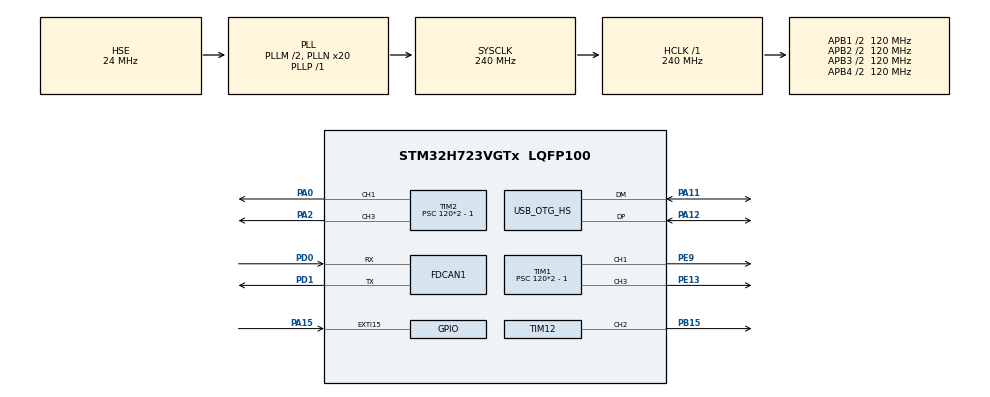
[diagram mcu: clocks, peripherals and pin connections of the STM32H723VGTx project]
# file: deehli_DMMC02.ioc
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CORTEX_M7.default_mode_Activation=1
FDCAN1.AutoRetransmission=ENABLE
FDCAN1.CalculateBaudRateNominal=500000
FDCAN1.CalculateTimeBitNominal=2000
FDCAN1.CalculateTimeQuantumNominal=25.0
FDCAN1.DataPrescaler=5
FDCAN1.DataSyncJumpWidth=15
FDCAN1.DataTimeSeg1=16
FDCAN1.DataTimeSeg2=16
FDCAN1.NominalPrescaler=2
FDCAN1.NominalSyncJumpWidth=10
FDCAN1.NominalTimeSeg1=69
FDCAN1.NominalTimeSeg2=10
FDCAN1.RxBuffersNbr=1
FDCAN1.RxFifo0ElmtsNbr=1
FDCAN1.StdFiltersNbr=1
FDCAN1.TxBuffersNbr=31
FDCAN1.TxEventsNbr=1
FDCAN1.TxFifoQueueElmtsNbr=1
Mcu.Family=STM32H7
Mcu.Name=STM32H723VGTx
Mcu.Package=LQFP100
NVIC.FDCAN1_IT0_IRQn=true\:0\:0\:false\:false\:true\:true\:true\:true
NVIC.OTG_HS_IRQn=true\:0\:0\:false\:false\:true\:false\:true\:true
NVIC.PriorityGroup=NVIC_PRIORITYGROUP_4
PA0.Signal=S_TIM2_CH1_ETR
PA11.Mode=Device_Only_FS
PA11.Signal=USB_OTG_HS_DM
PA12.Mode=Device_Only_FS
PA12.Signal=USB_OTG_HS_DP
PA13(JTMS/SWDIO).Mode=Serial_Wire
PA13(JTMS/SWDIO).Signal=DEBUG_JTMS-SWDIO
PA14(JTCK/SWCLK).Mode=Serial_Wire
PA14(JTCK/SWCLK).Signal=DEBUG_JTCK-SWCLK
PA15(JTDI).Signal=GPXTI15
PA2.Signal=S_TIM2_CH3
PB15.Signal=S_TIM12_CH2
PD0.Mode=FDCAN_Activate
PD0.Signal=FDCAN1_RX
PD1.Mode=FDCAN_Activate
PD1.Signal=FDCAN1_TX
PE13.Signal=S_TIM1_CH3
PE9.Signal=S_TIM1_CH1
PH0-OSC_IN.Mode=HSE-External-Oscillator
PH0-OSC_IN.Signal=RCC_OSC_IN
PH1-OSC_OUT.Mode=HSE-External-Oscillator
PH1-OSC_OUT.Signal=RCC_OSC_OUT
ProjectManager.HeapSize=0x200
ProjectManager.StackSize=0x400
ProjectManager.TargetToolchain=STM32CubeIDE
RCC.ADCFreq_Value=48375000
RCC.APB1Freq_Value=120000000
RCC.APB2Freq_Value=120000000
RCC.APB3Freq_Value=120000000
RCC.APB4Freq_Value=120000000
RCC.CortexFreq_Value=240000000
RCC.D1PPRE=RCC_APB3_DIV2
RCC.D2PPRE1=RCC_APB1_DIV2
RCC.D2PPRE2=RCC_APB2_DIV2
RCC.D3PPRE=RCC_APB4_DIV2
RCC.DIVM1=2
RCC.DIVN1=20
RCC.DIVP1=1
RCC.DIVQ1=3
RCC.HCLKFreq_Value=240000000
RCC.HSE_VALUE=24000000
RCC.PLLFRACN=0
RCC.PLLSourceVirtual=RCC_PLLSOURCE_HSE
RCC.SYSCLKFreq_VALUE=240000000
RCC.SYSCLKSource=RCC_SYSCLKSOURCE_PLLCLK
RCC.USBCLockSelection=RCC_USBCLKSOURCE_HSI48
RCC.USBFreq_Value=48000000
SH.S_TIM12_CH2.0=TIM12_CH2,PWM Generation2 CH2
SH.S_TIM1_CH1.0=TIM1_CH1,PWM Generation1 CH1
SH.S_TIM1_CH3.0=TIM1_CH3,PWM Generation3 CH3
SH.S_TIM2_CH1_ETR.0=TIM2_CH1,PWM Generation1 CH1
SH.S_TIM2_CH3.0=TIM2_CH3,PWM Generation3 CH3
TIM1.Channel-PWM\ Generation1\ CH1=TIM_CHANNEL_1
TIM1.Channel-PWM\ Generation3\ CH3=TIM_CHANNEL_3
TIM1.Period=10000 - 1
TIM1.Prescaler=120*2 - 1
TIM12.Channel-PWM\ Generation2\ CH2=TIM_CHANNEL_2
TIM2.Channel-PWM\ Generation1\ CH1=TIM_CHANNEL_1
TIM2.Channel-PWM\ Generation3\ CH3=TIM_CHANNEL_3
TIM2.Period=10000 - 1
TIM2.Prescaler=120*2 - 1
USB_DEVICE.CLASS_NAME_HS=CDC
USB_DEVICE.USBD_SELF_POWERED=1
USB_DEVICE.VirtualMode=Cdc
USB_DEVICE.VirtualModeHS=Cdc_HS
USB_OTG_HS.VirtualMode-Device_Only_FS=Device_Only_FS
VP_MEMORYMAP_VS_MEMORYMAP.Mode=CurAppReg
VP_TIM12_VS_ClockSourceINT.Mode=Internal
VP_TIM1_VS_ClockSourceINT.Mode=Internal
VP_TIM2_VS_ClockSourceINT.Mode=Internal
VP_USB_DEVICE_VS_USB_DEVICE_CDC_HS.Mode=CDC_HS
board=custom

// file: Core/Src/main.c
/* USER CODE BEGIN Header */
/**
  ******************************************************************************
  * @file           : main.c
  * @brief          : Main program body
  ******************************************************************************
  * @attention
  *
  * Copyright (c) 2025 STMicroelectronics.
  * All rights reserved.
  *
  * This software is licensed under terms that can be found in the LICENSE file
  * in the root directory of this software component.
  * If no LICENSE file comes with this software, it is provided AS-IS.
  *
  ******************************************************************************
  */
/* USER CODE END Header */
#include "main.h"
#include "fdcan.h"
#include "tim.h"
#include "usb_device.h"
#include "gpio.h"

/* USER CODE BEGIN Includes */
#include <stdlib.h>

#include "driver_servo_pwm.h"
#include "driver_user_button.h"
#include "driver_usb.h"
#include "driver_buzzer.h"

#include "driver_ZDTEmmV50.h"

#include "lib_deehli.h"
/* USER CODE END Includes */

void SystemClock_Config(void);
static void MPU_Config(void);
/* USER CODE BEGIN PFP */
uint8_t has_new_msg = 0;
uint8_t* serial_buffer_copy;
int USB_user_callback(uint8_t* Buf, uint32_t len)
{
  printf("[fw][usb] received %lu bytes: %.*s\r\n", (unsigned long)len, (int)len, Buf);
  has_new_msg = 1;
  serial_buffer_copy = Buf;
    return 0;
}
/* USER CODE END PFP */

/* USER CODE BEGIN 0 */
void command_success(bool is_active) /*Sound to play on success*/
{
  if (!is_active) {return;}
  buzzer_enable(); buzzer_set_midi(90); HAL_Delay(200); buzzer_disable();
  HAL_Delay(200);
  buzzer_enable(); buzzer_set_midi(90); HAL_Delay(200); buzzer_disable();
}
void command_error() /*Sound to play on error*/
{
	  buzzer_enable(); buzzer_set_midi(90); HAL_Delay(100); buzzer_disable();
	  HAL_Delay(100);
	  buzzer_enable(); buzzer_set_midi(90); HAL_Delay(100); buzzer_disable();
	  HAL_Delay(100);
	  buzzer_enable(); buzzer_set_midi(90); HAL_Delay(100); buzzer_disable();
	  HAL_Delay(100);
	  buzzer_enable(); buzzer_set_midi(90); HAL_Delay(100); buzzer_disable();
}
void command_timeout() /*Sound to play on timeout*/
{
	  buzzer_enable(); buzzer_set_midi(90); HAL_Delay(50); buzzer_disable();
	  HAL_Delay(50);
	  buzzer_enable(); buzzer_set_midi(90); HAL_Delay(50); buzzer_disable();
	  HAL_Delay(50);
	  buzzer_enable(); buzzer_set_midi(90); HAL_Delay(50); buzzer_disable();
	  HAL_Delay(50);
	  buzzer_enable(); buzzer_set_midi(90); HAL_Delay(50); buzzer_disable();
	  HAL_Delay(50);
	  buzzer_enable(); buzzer_set_midi(90); HAL_Delay(50); buzzer_disable();
}

/* command errors serial notify */
void notify_setup_success() /*Serial data to send on setup success*/
{
	char buf_dbg[] = "[fw][usb] setup success\r\n";
	USB_transmit((uint8_t*) buf_dbg, strlen(buf_dbg));
	char buf[4] = "255\n";
	USB_transmit((uint8_t*) buf, 4);
}
void notify_cmd_ack() /*Serial data to send on valid command*/
{
	char buf_dbg[] = "[fw][usb] cmd ack\r\n";
	USB_transmit((uint8_t*) buf_dbg, strlen(buf_dbg));
	char buf[4] = "250\n";
	USB_transmit((uint8_t*) buf, 4);
}
void notify_command_success() /*Serial data to send on success*/
{
	char buf_dbg[] = "[fw][usb] cmd success\r\n";
	USB_transmit((uint8_t*) buf_dbg, strlen(buf_dbg));
	char buf[4] = "249\n";
	USB_transmit((uint8_t*) buf, 4);
}
void notify_command_error(uint8_t error_code) /*Serial data to send on error*/
{
	char buf_dbg[32];
	snprintf(buf_dbg, sizeof(buf_dbg), "[fw][usb] cmd error %u\r\n", error_code);
	USB_transmit((uint8_t*) buf_dbg, strlen(buf_dbg));
	char buf[10];
	snprintf(buf, sizeof(buf), "248,%u\n", error_code);
	USB_transmit((uint8_t*) buf, strlen(buf));
}
void notify_command_timeout() /*Serial data to send on timeout*/
{
	notify_command_error(10);
}
void notify_setup_error() /*Setup went wrong for example*/
{
	char buf[4] = "254\n";
	USB_transmit((uint8_t*) buf, 4);
	buzzer_enable(); buzzer_set_midi(90); HAL_Delay(50); buzzer_disable();
	HAL_Delay(50);
	buzzer_enable(); buzzer_set_midi(90); HAL_Delay(50); buzzer_disable();
	HAL_Delay(50);
}
/* USER CODE END 0 */

int main(void)
{

  /* MPU Configuration--------------------------------------------------------*/
  MPU_Config();

  /* MCU Configuration--------------------------------------------------------*/

  /* Reset of all peripherals, Initializes the Flash interface and the Systick. */
  HAL_Init();

  /* Configure the system clock */
  SystemClock_Config();

  /* Initialize all configured peripherals */
  MX_GPIO_Init();
  MX_TIM1_Init();
  MX_TIM2_Init();
  MX_USB_DEVICE_Init();
  MX_FDCAN1_Init();
  MX_TIM12_Init();
  /* USER CODE BEGIN 2 */
  /* =========== ZDT AND CAN SETUP =========== */
  FDCAN_FilterTypeDef sFilterConfig;

  sFilterConfig.IdType = FDCAN_EXTENDED_ID;
  sFilterConfig.FilterIndex = 0;
  sFilterConfig.FilterType = FDCAN_FILTER_MASK;
  sFilterConfig.FilterConfig = FDCAN_FILTER_TO_RXFIFO0;
  sFilterConfig.FilterID1 = 0x0000;  // Set to 0 to accept all IDs
  sFilterConfig.FilterID2 = 0x0000;  // Set to 0 to accept all IDs
  sFilterConfig.RxBufferIndex = 0;
  if (CAN_add_filter(&hfdcan1, &sFilterConfig) != HAL_OK)
  {
    Error_Handler(); /* Filter configuration Error */
  }

  ZDT_Handler zdt;
  ZDT_ReturnCode retz;
  zdt.hfdcan = &hfdcan1;
  zdt.mot_id = 0x01U;
  zdt.checksum = ZDT_CS0x6B;
  zdt.receive_timeout = 1000;
  zdt.send_timeout = 3000;
  /* Init ZDT handler instance and CAN */
  if(ZDT_CAN_setup(&zdt)!= ZDT_OK)
  {
    Error_Handler();
  }

  /* =========== SERVO SETUP =========== */
  servo_PWM servo1;
  servo1.htim = &htim1;
  servo1.channel = TIM_CHANNEL_3;
  servo1.min_angle = -150; servo1.max_angle = 150;
  servo1.min_duty = 0.025; servo1.max_duty = 0.125;
  servo_PWM_start(&servo1);

  servo_PWM servo2;
  servo2.htim = &htim1;
  servo2.channel = TIM_CHANNEL_1;
  servo2.min_angle = -150; servo2.max_angle = 150;
  servo2.min_duty = 0.025; servo2.max_duty = 0.125;
  servo_PWM_start(&servo2);

  servo_PWM servo3;
  servo3.htim = &htim2;
  servo3.channel = TIM_CHANNEL_3;
  servo3.min_angle = -150; servo3.max_angle = 150;
  servo3.min_duty = 0.025; servo3.max_duty = 0.125;
  servo_PWM_start(&servo3);

  servo_PWM servo4;
  servo4.htim = &htim2;
  servo4.channel = TIM_CHANNEL_1;
  servo4.min_angle = -150; servo4.max_angle = 150;
  servo4.min_duty = 0.025; servo4.max_duty = 0.125;
  servo_PWM_start(&servo4);

  servo_PWM* servos[4] = {&servo1, &servo2, &servo3, &servo4};
  int n_servos = 4;

  /* =========== INIT POSITIONS AND MISC =========== */
  bool CMD_SOUND_ACK = false; // Set to false to disable sound ack for end of command
  float servo_offsets[] = {-5.0f, 1.0f, -2.0f, -6.0f}; // Servo and hardware angle offsets from default position

  servo_PWM_set_angle(&servo1, 0 + servo_offsets[0]);
  servo_PWM_set_angle(&servo2, 0 + servo_offsets[1]);
  servo_PWM_set_angle(&servo3, 0 + servo_offsets[2]);
  servo_PWM_set_angle(&servo4, 0 + servo_offsets[3]);

  if (ZDT_cmd_motor_enable_control(&zdt, true, false))
  {
	  notify_setup_error();
	  Error_Handler();
  }

  /* =========== AUTO HOMING ON STARTUP =========== */
  printf("[fw] startup homing\r\n");
  retz = ZDT_cmd_trigger_homing(&zdt, ZDT_HomNear, false);
  if (retz == ZDT_TIMEOUT)
  {
	  notify_setup_error();
	  Error_Handler();
  }
  else if (retz)
  {
	  notify_setup_error();
	  Error_Handler();
  }

  retz = ZDT_receive_reached_message(&zdt, 15000);
  if (retz == ZDT_TIMEOUT)
  {
	  notify_setup_error();
	  Error_Handler();
  }
  else if (retz)
  {
	  notify_setup_error();
	  Error_Handler();
  }

  retz = ZDT_cmd_set_0_position_homing(&zdt, false);
  if (retz == ZDT_TIMEOUT)
  {
	  notify_setup_error();
	  Error_Handler();
  }
  else if (retz)
  {
	  notify_setup_error();
	  Error_Handler();
  }

  double dout = 0.0;
  int ret;
  int msg_type;
  char **out_strings;
  int str_count;

  /* Play sucess buzzer sound and notify through serial */
  printf("[fw] setup complete\r\n");
  command_success(true); notify_setup_success();

  /* USER CODE END 2 */

  /* Infinite loop */
  /* USER CODE BEGIN WHILE */
  while (1)
  {
  if (has_new_msg == 1) { // New message received
    has_new_msg = 0;
    printf("[fw] parsing USB message\r\n");
    ret = split_string((char *)serial_buffer, &out_strings, &str_count, ",");
    if (ret) {continue;}

    ret = chars_to_double(out_strings[0], &dout); /*Retrieve message type*/
    if (ret) {continue;}
    msg_type = (int)dout;
    printf("[fw] msg_type=%d str_count=%d\r\n", msg_type, str_count);

    if (msg_type == 1) { // servo set
      printf("[fw] servo set\r\n");
      if (str_count != 3) {command_error(); notify_command_error(1); continue;} // Arg count error

      ret = chars_to_double(out_strings[1], &dout);
      if (ret) {command_error(); notify_command_error(1); continue;}
      int servo_id = ((int)dout) -1;
      if (servo_id < 0 || servo_id >= n_servos) {
    	  command_error(); notify_command_error(1); continue;
      }

      ret = chars_to_double(out_strings[2], &dout);
      if (ret) {command_error(); notify_command_error(1); continue;}
      float target_angle = (float)dout + servo_offsets[servo_id];

      notify_cmd_ack(); /* Args are ok */

      ret = servo_PWM_set_angle(servos[servo_id], target_angle);
      if (ret) {command_error(); notify_command_error(1); continue;}
      command_success(CMD_SOUND_ACK); notify_command_success();
    } else if (msg_type == 2) { // servo goto
      printf("[fw] servo goto\r\n");
      if (str_count != 4) {command_error(); notify_command_error(1); continue;} // Arg count error

      ret = chars_to_double(out_strings[1], &dout);
      if (ret) {command_error(); notify_command_error(1); continue;}
      int servo_id = ((int)dout) -1;
      if (servo_id < 0 || servo_id >= n_servos) {
    	  command_error(); notify_command_error(1); continue;
      }

      ret = chars_to_double(out_strings[2], &dout);
      if (ret) {command_error(); notify_command_error(1); continue;}
      float target_angle = (float)dout + servo_offsets[servo_id];

      ret = chars_to_double(out_strings[3], &dout);
      if (ret) {command_error(); notify_command_error(1); continue;}
      float max_angle_speed = (float)dout;

      notify_cmd_ack(); /* Args are ok */

      ret = servo_PWM_goto_angle(servos[servo_id], target_angle, max_angle_speed);
      if (ret) {command_error(); notify_command_error(1); continue;}
      command_success(CMD_SOUND_ACK); notify_command_success();
    } else if (msg_type == 3) { // servo group goto 1by1
      printf("[fw] servo group goto 1by1\r\n");
      if (str_count%3 != 1) {command_error(); notify_command_error(1); continue;} // Arg count error
      int servo_count = (str_count - 1) / 3;
      if (servo_count <= 0 || servo_count > n_servos) {command_error(); notify_command_error(1); continue;}

      servo_PWM **servos_payload;
      float *angles_deg, *max_speeds_degps;
      servos_payload = (servo_PWM **) malloc(servo_count * sizeof(servo_PWM *));
      angles_deg = (float *) malloc(servo_count * sizeof(float));
      max_speeds_degps = (float *) malloc(servo_count * sizeof(float));
      if (servos_payload == NULL || angles_deg == NULL || max_speeds_degps == NULL) {command_error(); notify_command_error(1); continue;}

      for (int i=0; i<servo_count; i++) {
        ret = chars_to_double(out_strings[3*i + 1], &dout);
        if (ret) {command_error(); notify_command_error(1); continue;}
        int this_servo_id = ((int)dout)-1;
        if (this_servo_id < 0 || this_servo_id*sizeof(servo_PWM*) > sizeof(servos)) {command_error(); notify_command_error(1); continue;}

        ret = chars_to_double(out_strings[3*i + 2], &dout);
        if (ret) {command_error(); notify_command_error(1); continue;}
        float target_angle = (float)dout + servo_offsets[this_servo_id];

        ret = chars_to_double(out_strings[3*i + 3], &dout);
        if (ret) {command_error(); notify_command_error(1); continue;}
        float max_angle_speed = (float)dout;

        servos_payload[i] = servos[this_servo_id];
        angles_deg[i] = target_angle;
        max_speeds_degps[i] = max_angle_speed;
      }
      notify_cmd_ack(); /* Args are ok. */

      for (int i=0; i<servo_count; i++) {
        ret = servo_PWM_goto_angle(servos_payload[i], angles_deg[i], max_speeds_degps[i]);
        if (ret) {command_error(); notify_command_error(1); continue;}
      }

      command_success(CMD_SOUND_ACK); notify_command_success();
    } else if (msg_type == 4) { // servo group goto sync
      printf("[fw] servo group goto sync\r\n");
      if (str_count%3 != 1) {command_error(); notify_command_error(1); continue;} // Arg count error
      int servo_count = (str_count - 1) / 3;
      if (servo_count <= 0 || servo_count > n_servos) {command_error(); notify_command_error(1); continue;}

      servo_PWM **servos_payload;
      float *angles_deg, *max_speeds_degps;
      servos_payload = (servo_PWM **) malloc(servo_count * sizeof(servo_PWM *));
      angles_deg = (float *) malloc(servo_count * sizeof(float));
      max_speeds_degps = (float *) malloc(servo_count * sizeof(float));
      if (servos_payload == NULL || angles_deg == NULL || max_speeds_degps == NULL) {command_error(); notify_command_error(1); continue;}

      for (int i=0; i<servo_count; i++) {
        ret = chars_to_double(out_strings[3*i + 1], &dout);
        if (ret) {command_error(); notify_command_error(1); continue;}
        int this_servo_id = ((int)dout)-1;
        if (this_servo_id < 0 || this_servo_id*sizeof(servo_PWM*) > sizeof(servos)) {command_error(); notify_command_error(1); continue;}

        ret = chars_to_double(out_strings[3*i + 2], &dout);
        if (ret) {command_error(); notify_command_error(1); continue;}
        float target_angle = (float)dout + servo_offsets[this_servo_id];

        ret = chars_to_double(out_strings[3*i + 3], &dout);
        if (ret) {command_error(); notify_command_error(1); continue;}
        float max_angle_speed = (float)dout;

        servos_payload[i] = servos[this_servo_id];
        angles_deg[i] = target_angle;
        max_speeds_degps[i] = max_angle_speed;
      }

      notify_cmd_ack(); /* Args are ok. */

      ret = servo_PWM_group_goto_angle(servos_payload, angles_deg, max_speeds_degps, servo_count);
      if (ret) {command_error(); notify_command_error(1); continue;}
      command_success(CMD_SOUND_ACK); notify_command_success();
    } else if (msg_type == 10) { // ZDT enable control
      printf("[fw] ZDT enable control\r\n");

      notify_cmd_ack(); /* Args are ok. */

      retz = ZDT_cmd_motor_enable_control(&zdt, true, false);
      if (retz==ZDT_TIMEOUT) {command_error(); notify_command_error(10); continue;} // if timeout
      else if (retz) {command_error(); notify_command_error(1); continue;}
      command_success(CMD_SOUND_ACK); notify_command_success();
    } else if (msg_type == 11) { // ZDT pos control
        printf("[fw] ZDT position control\r\n");
        if (str_count != 6) {command_error(); notify_command_error(1); continue;} // Arg count error

        ret = chars_to_double(out_strings[1], &dout);
        if (ret) {command_error(); notify_command_error(1); continue;}
        ZDT_Dir dir; if ((int)dout) {dir=ZDT_CW;} else {dir=ZDT_CCW;}

        ret = chars_to_double(out_strings[2], &dout);
        if (ret) {command_error(); notify_command_error(1); continue;}
        uint32_t npulses = (uint32_t)dout;

        ret = chars_to_double(out_strings[3], &dout);
        if (ret) {command_error(); notify_command_error(1); continue;}
        uint16_t speed = (uint16_t)dout;

        ret = chars_to_double(out_strings[4], &dout);
        if (ret) {command_error(); notify_command_error(1); continue;}
        uint8_t accell = (uint8_t)dout;

        ret = chars_to_double(out_strings[5], &dout);
        if (ret) {command_error(); notify_command_error(1); continue;}
        bool isrelative; if ((int)dout) {isrelative=true;} else {isrelative=false;}

        notify_cmd_ack(); /* Args are ok. */

        retz = ZDT_cmd_position_mode_control(&zdt, dir, npulses, speed, accell, isrelative, false);
        if (retz==ZDT_TIMEOUT) {command_error(); notify_command_error(10); continue;} // if timeout
        else if (retz) {command_error(); notify_command_error(1); continue;}
        command_success(CMD_SOUND_ACK); notify_command_success();
    } else if (msg_type == 18) { // ZDT trigger homing
      printf("[fw] ZDT trigger homing\r\n");
      if (str_count != 1) {command_error(); notify_command_error(1); continue;}

      notify_cmd_ack();
      retz = ZDT_cmd_trigger_homing(&zdt, ZDT_HomNear, false);
      if (retz==ZDT_TIMEOUT) {command_error(); notify_command_error(10); continue;}
      else if (retz) {command_error(); notify_command_error(1); continue;}

      retz = ZDT_receive_reached_message(&zdt, 15000);
      if (retz==ZDT_TIMEOUT) {command_error(); notify_command_error(10); continue;}
      else if (retz) {command_error(); notify_command_error(1); continue;}

      command_success(CMD_SOUND_ACK); notify_command_success();
    } else if (msg_type == 19) { // ZDT set homing 0
      printf("[fw] ZDT set homing zero\r\n");
      if (str_count != 1) {command_error(); notify_command_error(1); continue;}

      notify_cmd_ack();
      retz = ZDT_cmd_set_0_position_homing(&zdt, false);
      if (retz==ZDT_TIMEOUT) {command_error(); notify_command_error(10); continue;}
      else if (retz) {command_error(); notify_command_error(1); continue;}

      command_success(CMD_SOUND_ACK); notify_command_success();
    } else if (msg_type == 101) { // deehli drive all blocking
        printf("[fw] drive all blocking\r\n");
        if (str_count != 11) {command_error(); notify_command_error(1); continue;} // Arg count error

        /* Retrieve parameters */
        /* -Servos- */
        servo_PWM *servos_payload[4] = {&servo1, &servo2, &servo3, &servo4};
        float angles_deg[4], max_speeds_degps[4];

        for (int i=0; i<4; i++) {
          ret = chars_to_double(out_strings[i + 1], &dout);
          if (ret) {command_error(); notify_command_error(1); continue;}
          float target_angle = (float)dout;

          angles_deg[i] = target_angle + servo_offsets[i];
        }

        ret = chars_to_double(out_strings[5], &dout);
        if (ret) {command_error(); notify_command_error(1); continue;}
        float max_angle_speed = (float)dout;
        for (int i=0; i<4; i++) { max_speeds_degps[i] = max_angle_speed; }

        /* -ZDT- */
        ret = chars_to_double(out_strings[6], &dout);
        if (ret) {command_error(); notify_command_error(1); continue;}
        ZDT_Dir dir; if ((int)dout) {dir=ZDT_CW;} else {dir=ZDT_CCW;}

        ret = chars_to_double(out_strings[7], &dout);
        if (ret) {command_error(); notify_command_error(1); continue;}
        uint32_t npulses = (uint32_t)dout;

        ret = chars_to_double(out_strings[8], &dout);
        if (ret) {command_error(); notify_command_error(1); continue;}
        uint16_t speed = (uint16_t)dout;

        ret = chars_to_double(out_strings[9], &dout);
        if (ret) {command_error(); notify_command_error(1); continue;}
        uint8_t accell = (uint8_t)dout;

        ret = chars_to_double(out_strings[10], &dout);
        if (ret) {command_error(); notify_command_error(1); continue;}
        uint32_t reached_timeout = (uint32_t)dout;

        notify_cmd_ack(); /* Args are ok. */

        /* Drive ZDT */
        printf("[fw] sending ZDT move\r\n");
        retz = ZDT_cmd_position_mode_control(&zdt, dir, npulses, speed, accell, true, false);
        if (retz==ZDT_TIMEOUT) {command_error(); notify_command_error(10); continue;} // if timeout
        else if (retz) {command_error(); notify_command_error(1); continue;}

        /* Drive servos */
        printf("[fw] moving servos\r\n");
        ret = servo_PWM_group_goto_angle(servos_payload, angles_deg, max_speeds_degps, 4);
        if (ret) {command_error(); notify_command_error(1); continue;}

        /* Wait for ZDT ack */
        printf("[fw] waiting for ZDT reached message\r\n");
        retz = ZDT_receive_reached_message(&zdt, reached_timeout);
        if (retz==ZDT_TIMEOUT) {command_error(); notify_command_error(10); continue;} // if timeout
        else if (retz) {command_error(); notify_command_error(1); continue;}

        command_success(CMD_SOUND_ACK); notify_command_success();
  	} else {
      command_error(); notify_command_error(0); continue;
    }
  }
  if (user_button_read() == GPIO_PIN_RESET) { // Button pressed: reset positions
    /* Retrieve parameters */
    /* -Servos- */
    servo_PWM *servos_payload[4] = {&servo1, &servo2, &servo3, &servo4};
    float angles_deg[4] = {0 + servo_offsets[0], 0 + servo_offsets[1], 0 + servo_offsets[2], 0 + servo_offsets[3]};
    float max_speeds_degps[4] = {60, 60, 60, 60};

    /* -ZDT- */
    ZDT_Dir dir = ZDT_CCW;
    uint32_t npulses = 0;
    uint16_t speed = 1000;
    uint8_t accell = 0;
    uint32_t reached_timeout = 15000;

    /* Drive ZDT */
    retz = ZDT_cmd_position_mode_control(&zdt, dir, npulses, speed, accell, true, false);
    if (retz==ZDT_TIMEOUT) {command_error(); notify_command_error(10); continue;} // if timeout
    else if (retz) {command_error(); notify_command_error(1); continue;}

    /* Drive servos */
    ret = servo_PWM_group_goto_angle(servos_payload, angles_deg, max_speeds_degps, 4);
    if (ret) {command_error(); notify_command_error(1); continue;}

    /* Wait for ZDT ack */
    retz = ZDT_receive_reached_message(&zdt, reached_timeout);
    if (retz==ZDT_TIMEOUT) {command_error(); notify_command_error(10); continue;} // if timeout
    else if (retz) {command_error(); notify_command_error(1); continue;}

    command_success(true); notify_command_success();
  }
  HAL_Delay(1);
}
    /* USER CODE END WHILE */

}

void SystemClock_Config(void)
{
  RCC_OscInitTypeDef RCC_OscInitStruct = {0};
  RCC_ClkInitTypeDef RCC_ClkInitStruct = {0};

  /** Supply configuration update enable
  */
  HAL_PWREx_ConfigSupply(PWR_LDO_SUPPLY);

  /** Configure the main internal regulator output voltage
  */
  __HAL_PWR_VOLTAGESCALING_CONFIG(PWR_REGULATOR_VOLTAGE_SCALE0);

  while(!__HAL_PWR_GET_FLAG(PWR_FLAG_VOSRDY)) {}

  /** Initializes the RCC Oscillators according to the specified parameters
  * in the RCC_OscInitTypeDef structure.
  */
  RCC_OscInitStruct.OscillatorType = RCC_OSCILLATORTYPE_HSI48|RCC_OSCILLATORTYPE_HSE;
  RCC_OscInitStruct.HSEState = RCC_HSE_ON;
  RCC_OscInitStruct.HSI48State = RCC_HSI48_ON;
  RCC_OscInitStruct.PLL.PLLState = RCC_PLL_ON;
  RCC_OscInitStruct.PLL.PLLSource = RCC_PLLSOURCE_HSE;
  RCC_OscInitStruct.PLL.PLLM = 2;
  RCC_OscInitStruct.PLL.PLLN = 20;
  RCC_OscInitStruct.PLL.PLLP = 1;
  RCC_OscInitStruct.PLL.PLLQ = 3;
  RCC_OscInitStruct.PLL.PLLR = 2;
  RCC_OscInitStruct.PLL.PLLRGE = RCC_PLL1VCIRANGE_3;
  RCC_OscInitStruct.PLL.PLLVCOSEL = RCC_PLL1VCOWIDE;
  RCC_OscInitStruct.PLL.PLLFRACN = 0;
  if (HAL_RCC_OscConfig(&RCC_OscInitStruct) != HAL_OK)
  {
    Error_Handler();
  }

  /** Initializes the CPU, AHB and APB buses clocks
  */
  RCC_ClkInitStruct.ClockType = RCC_CLOCKTYPE_HCLK|RCC_CLOCKTYPE_SYSCLK
                              |RCC_CLOCKTYPE_PCLK1|RCC_CLOCKTYPE_PCLK2
                              |RCC_CLOCKTYPE_D3PCLK1|RCC_CLOCKTYPE_D1PCLK1;
  RCC_ClkInitStruct.SYSCLKSource = RCC_SYSCLKSOURCE_PLLCLK;
  RCC_ClkInitStruct.SYSCLKDivider = RCC_SYSCLK_DIV1;
  RCC_ClkInitStruct.AHBCLKDivider = RCC_HCLK_DIV1;
  RCC_ClkInitStruct.APB3CLKDivider = RCC_APB3_DIV2;
  RCC_ClkInitStruct.APB1CLKDivider = RCC_APB1_DIV2;
  RCC_ClkInitStruct.APB2CLKDivider = RCC_APB2_DIV2;
  RCC_ClkInitStruct.APB4CLKDivider = RCC_APB4_DIV2;

  if (HAL_RCC_ClockConfig(&RCC_ClkInitStruct, FLASH_LATENCY_3) != HAL_OK)
  {
    Error_Handler();
  }
}

 /* MPU Configuration */

void MPU_Config(void)
{
  MPU_Region_InitTypeDef MPU_InitStruct = {0};

  /* Disables the MPU */
  HAL_MPU_Disable();

  /** Initializes and configures the Region and the memory to be protected
  */
  MPU_InitStruct.Enable = MPU_REGION_ENABLE;
  MPU_InitStruct.Number = MPU_REGION_NUMBER0;
  MPU_InitStruct.BaseAddress = 0x0;
  MPU_InitStruct.Size = MPU_REGION_SIZE_4GB;
  MPU_InitStruct.SubRegionDisable = 0x87;
  MPU_InitStruct.TypeExtField = MPU_TEX_LEVEL0;
  MPU_InitStruct.AccessPermission = MPU_REGION_NO_ACCESS;
  MPU_InitStruct.DisableExec = MPU_INSTRUCTION_ACCESS_DISABLE;
  MPU_InitStruct.IsShareable = MPU_ACCESS_SHAREABLE;
  MPU_InitStruct.IsCacheable = MPU_ACCESS_NOT_CACHEABLE;
  MPU_InitStruct.IsBufferable = MPU_ACCESS_NOT_BUFFERABLE;

  HAL_MPU_ConfigRegion(&MPU_InitStruct);
  /* Enables the MPU */
  HAL_MPU_Enable(MPU_PRIVILEGED_DEFAULT);

}

void Error_Handler(void)
{
  __disable_irq();
  while (1)
  {
  }
}
